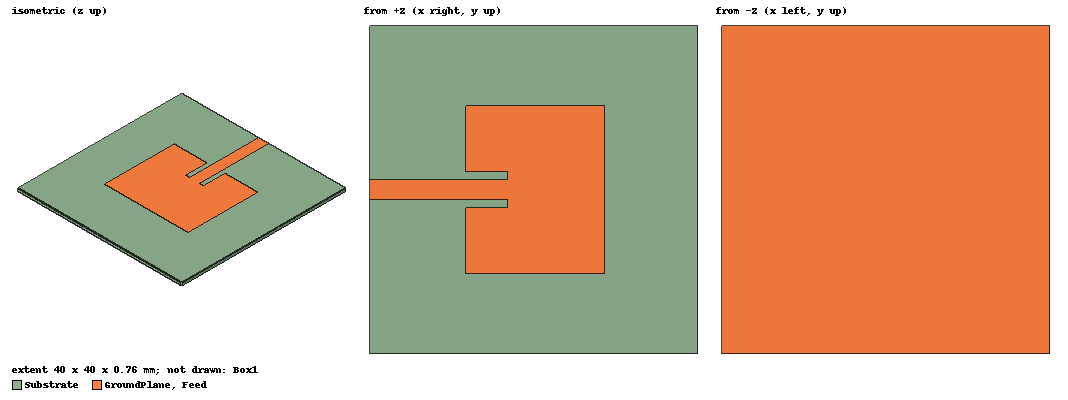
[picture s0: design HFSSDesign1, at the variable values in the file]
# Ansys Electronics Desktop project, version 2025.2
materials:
  vacuum: permittivity=1
  Arlon DiClad 880 (tm): permittivity=2.2 dielectric_loss_tangent=0.0009
  air: permittivity=1.0006 permeability=1.0000004

design HFSSDesign1 (HFSS, HFSS Terminal Network, model units mm)
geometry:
  Substrate [Arlon DiClad 880 (tm)] = box(corner=(20mm, 20mm, 0mm), size=(-40mm, -40mm, 0.76mm))
  GroundPlane [Arlon DiClad 880 (tm)] = object_from(Substrate.face(-z))
  Feed [vacuum] = box(corner=(-20mm, -1.235mm, 0.76mm), size=(16.95mm, 0.00247meter, 0mm))
  Patch = rectangle(corner=(8.65mm, 10.2mm, 0.76mm), x_size=-17mm, y_size=-20.4mm)
  Gap = rectangle(corner=(-8.65mm, 2.2mm, 0.76mm), x_size=5.5mm, y_size=-4.4mm)
  Patch.subtract(Gap)
  Feed.unite(Patch)
  Port = polyline(x=-20mm, yz in mm: (1.235, 0) (-1.2, 0) (-1.235, 0.76) (1.235, 0.76) (1.235, 0), closed, covered)
  Box1 [air] = box(corner=(-34mm, 34mm, -15mm), size=(70mm, -64mm, 50mm))
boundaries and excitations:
  FiniteCond1: Finite Conductivity Objects=Feed Conductivity=58000000 Permeability=1 IsInternal
  FiniteCond2: Finite Conductivity Objects=GroundPlane Conductivity=58000000 Permeability=1 IsInternal
  Rad1: Radiation Objects=Box1
  2: Lumped Port Faces=Port.face LumpedPortType=Modal Modes{Mode1{IntLine{(-20, 0, 0) -> (-20, 0, 0.76)} CharImp=Zpi}} Impedance=50ohm
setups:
  Setup1: HfssDriven Frequency=5.81GHz MaxDeltaS=0.01 MaximumPasses=20 MinimumPasses=1 MinimumConvergedPasses=1 PercentRefinement=30 BasisOrder=1 PortAccuracy=2 DrivenSolverType="Direct Solver"
    sweep Sweep: 5.7GHz to 5.9GHz step 0.01GHz; Type=Fast SaveFields
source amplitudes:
  2:1: 1V 0deg
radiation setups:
  Infinite Sphere1: Infinite Sphere Theta=0deg..180deg step 2deg Phi=0deg..360deg step 10deg
  Infinite Sphere2: Infinite Sphere Theta=-180deg..180deg step 2deg Phi=0deg..360deg step 2deg
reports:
  Terminal Z Parameter Chart1: Zt(2,2) on Setup1 : Sweep [Freq=all]; markers m1 at 5.79GHz, m2 at 5.8GHz, m3 at 5.81GHz, m4 at 5.82GHz, m5 at 5.83GHz
  Terminal S Parameter Plot1: dB(St(2,2)) vs Freq on Setup1 : Sweep; markers m1 at 5.75GHz, m2 at 5.81GHz, m3 at 5.85GHz
  Gain Plot1: GainTotal vs Phi, Theta on Setup1 : LastAdaptive, Infinite Sphere1 [Freq=5.81GHz]
  Gain Plot2: dB(GainPhi), dB(GainTheta) vs Theta on Setup1 : LastAdaptive, Infinite Sphere1 [Phi=0deg,90deg Freq=5.81GHz]
  Gain Plot3: GainPhi, GainTheta vs Theta on Setup1 : LastAdaptive, Infinite Sphere2 [Phi=0deg,90deg Freq=5.81GHz]
  Gain Plot4: dB10normalize(GainPhi) vs Theta on Setup1 : LastAdaptive, Infinite Sphere2 [Phi=0deg,90deg Freq=5.81GHz]
  Gain Plot5: GainPhi vs Theta on Setup1 : LastAdaptive, Infinite Sphere2 [Phi=0deg Freq=5.81GHz]
  Gain Plot6: GainPhi vs Theta on Setup1 : LastAdaptive, Infinite Sphere2 [Phi=90deg Freq=5.81GHz]
  EL Plot: dB10normalize(GainPhi) vs Theta on Setup1 : LastAdaptive, Infinite Sphere2 [Phi=90deg Freq=5.81GHz]
